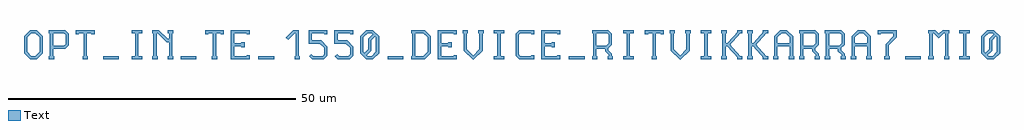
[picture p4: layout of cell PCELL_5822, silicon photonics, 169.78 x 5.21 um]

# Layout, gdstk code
import gdstk
lib = gdstk.Library(unit=1e-6, precision=1e-09)
def R(c, l, rs):  # rectangles x0, y0, x1, y1
    for r in rs: c.add(gdstk.rectangle(r[:2], r[2:], *l))
def A(c, l, x, y, w, h, nx, ny, dx, dy):  # array of equal rectangles
    R(c, l, [(x+i*dx, y+j*dy, x+i*dx+w, y+j*dy+h) for i in range(nx) for j in range(ny)])
def P(c, l, *ps):  # polygons
    for p in ps: c.add(gdstk.Polygon(p, *l))
Text = (10, 0)

pcell_5822 = lib.new_cell('PCELL_5822')
A(pcell_5822, Text, -71.5, -5.275, 2.727, 0.55, 3, 1, 13.5, 0)
A(pcell_5822, Text, 36.045, -5.275, 0.91, 0.55, 6, 1, 4.5, 0)
A(pcell_5822, Text, 38.773, -5.275, 0.909, 0.55, 6, 1, 4.5, 0)
R(pcell_5822, Text, [(-80.955,-5.275,-80.045,-4.725), (-75.091,-5.275,-74.182,-4.725), (-66.545,-5.275,-64.727,-4.725), (-62.955,-5.275,-62.045,-4.725), (-60.227,-5.275,-59.318,-4.725), (-52.591,-5.275,-51.682,-4.725), (-38.182,-5.275,-37.273,-4.725), (-22,-5.275,-19.273,-4.725), (-3.545,-5.275,-1.727,-4.725), (9.5,-5.275,12.227,-4.725), (13.545,-5.275,14.455,-4.725), (16.273,-5.275,17.182,-4.725), (18.955,-5.275,20.773,-4.725), (23.909,-5.275,24.818,-4.725), (32.455,-5.275,34.273,-4.725), (64.409,-5.275,65.318,-4.725), (68,-5.275,70.727,-4.725), (72.045,-5.275,72.955,-4.725), (74.773,-5.275,75.682,-4.725), (77.455,-5.275,79.273,-4.725), (-80.775,-5,-80.225,-0.455), (-74.911,-5,-74.361,-0.455), (-65.911,-5,-65.361,-0.455), (-62.775,-5,-62.225,-0.455), (-60.048,-5,-59.498,-0.455), (-52.411,-5,-51.861,-0.455), (-17.775,-5,-17.225,-0.455), (-2.911,-5,-2.361,-0.455), (13.725,-5,14.275,-0.455), (19.589,-5,20.139,-0.455), (24.089,-5,24.639,-0.455), (33.089,-5,33.639,-0.455), (36.225,-5,36.775,-0.455), (40.725,-5,41.275,-0.455), (49.725,-5,50.275,-0.455), (54.225,-5,54.775,-0.455), (72.225,-5,72.775,-0.455), (74.952,-5,75.502,-0.455), (78.089,-5,78.639,-0.455), (-47.457,-3.182,-46.907,-2.273), (-11.457,-3.182,-10.907,-2.273), (6.543,-3.182,7.093,-2.273), (-49,-3.002,-47.182,-2.452), (-13,-3.002,-11.182,-2.452), (5,-3.002,6.818,-2.452), (45.5,-3.002,48.227,-2.452), (59,-3.002,61.727,-2.452), (-66.545,-0.73,-64.727,-0.18), (-60.227,-0.73,-59.318,-0.18), (-8.955,-0.73,-8.045,-0.18), (-6.227,-0.73,-5.318,-0.18), (-3.545,-0.73,-1.727,-0.18), (18.955,-0.73,20.773,-0.18), (27.045,-0.73,27.955,-0.18), (29.773,-0.73,30.682,-0.18), (32.455,-0.73,34.273,-0.18), (36.045,-0.73,36.955,-0.18), (38.773,-0.73,39.682,-0.18), (40.545,-0.73,41.455,-0.18), (43.273,-0.73,44.182,-0.18), (77.455,-0.73,79.273,-0.18)])
P(pcell_5822, Text, [(-85.275,-4.091),(-85.275,-1.25),(-84.205,-0.18),(-83.068,-0.18),(-81.998,-1.25),(-81.998,-3.182),(-82.548,-3.182),(-82.548,-1.478),(-83.296,-0.73),(-83.977,-0.73),(-84.725,-1.478),(-84.725,-4.091)],
  [(-81.998,-2.727),(-81.998,-4.205),(-83.068,-5.275),(-84.205,-5.275),(-85.275,-4.205),(-85.275,-1.364),(-84.725,-1.364),(-84.725,-3.977),(-83.977,-4.725),(-83.296,-4.725),(-82.548,-3.977),(-82.548,-2.727)],
  [(-80.955,-0.18),(-78.113,-0.18),(-77.498,-0.795),(-77.498,-2.841),(-78.113,-3.457),(-80.5,-3.457),(-80.5,-2.907),(-78.341,-2.907),(-78.048,-2.613),(-78.048,-1.023),(-78.341,-0.73),(-80.955,-0.73)],
  [(-76.275,-0.909),(-76.275,-0.18),(-72.998,-0.18),(-72.998,-0.909),(-73.548,-0.909),(-73.548,-0.73),(-75.725,-0.73),(-75.725,-0.909)],
  [(-62.955,-0.18),(-61.795,-0.18),(-60.25,-1.725),(-59.773,-1.725),(-59.773,-2.275),(-60.478,-2.275),(-62.023,-0.73),(-62.955,-0.73)],
  [(-53.775,-0.909),(-53.775,-0.18),(-50.498,-0.18),(-50.498,-0.909),(-51.048,-0.909),(-51.048,-0.73),(-53.225,-0.73),(-53.225,-0.909)],
  [(-45.998,-4.545),(-45.998,-5.275),(-49.275,-5.275),(-49.275,-0.18),(-45.998,-0.18),(-45.998,-0.909),(-46.548,-0.909),(-46.548,-0.73),(-48.725,-0.73),(-48.725,-4.725),(-46.548,-4.725),(-46.548,-4.545)],
  [(-39.74,-1.487),(-38.432,-0.18),(-37.452,-0.18),(-37.452,-5),(-38.002,-5),(-38.002,-0.73),(-38.204,-0.73),(-39.351,-1.876)],
  [(-33.048,-0.909),(-33.048,-0.73),(-35.225,-0.73),(-35.225,-1.998),(-33.568,-1.998),(-32.498,-3.068),(-32.498,-4.659),(-33.113,-5.275),(-35.159,-5.275),(-35.694,-4.74),(-35.306,-4.351),(-34.932,-4.725),(-33.341,-4.725),(-33.048,-4.432),(-33.048,-3.296),(-33.796,-2.548),(-35.775,-2.548),(-35.775,-0.18),(-32.498,-0.18),(-32.498,-0.909)],
  [(-28.548,-0.909),(-28.548,-0.73),(-30.725,-0.73),(-30.725,-1.998),(-29.068,-1.998),(-27.998,-3.068),(-27.998,-4.659),(-28.613,-5.275),(-30.659,-5.275),(-31.194,-4.74),(-30.806,-4.351),(-30.432,-4.725),(-28.841,-4.725),(-28.548,-4.432),(-28.548,-3.296),(-29.296,-2.548),(-31.275,-2.548),(-31.275,-0.18),(-27.998,-0.18),(-27.998,-0.909)],
  [(-25.136,-5.275),(-25.705,-5.275),(-26.775,-4.205),(-26.775,-1.25),(-25.705,-0.18),(-24.568,-0.18),(-23.498,-1.25),(-23.498,-3.182),(-24.048,-3.182),(-24.048,-1.478),(-24.796,-0.73),(-25.477,-0.73),(-26.225,-1.478),(-26.225,-3.977),(-25.477,-4.725),(-25.136,-4.725)],
  [(-23.498,-2.727),(-23.498,-4.205),(-24.568,-5.275),(-25.705,-5.275),(-26.775,-4.205),(-26.775,-2.727),(-26.225,-2.727),(-26.225,-3.977),(-25.477,-4.725),(-24.796,-4.725),(-24.048,-3.977),(-24.048,-2.727)],
  [(-26.24,-4.351),(-25.411,-3.522),(-25.411,-1.704),(-24.422,-0.715),(-24.033,-1.104),(-24.861,-1.932),(-24.861,-3.75),(-25.851,-4.74)],
  [(-17.955,-0.18),(-15.568,-0.18),(-14.498,-1.25),(-14.498,-4.205),(-15.568,-5.275),(-17.955,-5.275),(-17.955,-4.725),(-15.796,-4.725),(-15.048,-3.977),(-15.048,-1.478),(-15.796,-0.73),(-17.955,-0.73)],
  [(-9.998,-4.545),(-9.998,-5.275),(-13.275,-5.275),(-13.275,-0.18),(-9.998,-0.18),(-9.998,-0.909),(-10.548,-0.909),(-10.548,-0.73),(-12.725,-0.73),(-12.725,-4.725),(-10.548,-4.725),(-10.548,-4.545)],
  [(-8.225,-0.455),(-8.225,-3.522),(-7.136,-4.611),(-6.048,-3.522),(-6.048,-0.455),(-5.498,-0.455),(-5.498,-3.75),(-7.136,-5.389),(-8.775,-3.75),(-8.775,-0.455)],
  [(3.502,-4.545),(3.502,-5.275),(0.841,-5.275),(0.225,-4.659),(0.225,-0.795),(0.841,-0.18),(3.502,-0.18),(3.502,-0.909),(2.952,-0.909),(2.952,-0.73),(1.068,-0.73),(0.775,-1.023),(0.775,-4.432),(1.068,-4.725),(2.952,-4.725),(2.952,-4.545)],
  [(8.002,-4.545),(8.002,-5.275),(4.725,-5.275),(4.725,-0.18),(8.002,-0.18),(8.002,-0.909),(7.452,-0.909),(7.452,-0.73),(5.275,-0.73),(5.275,-4.725),(7.452,-4.725),(7.452,-4.545)],
  [(13.545,-0.18),(16.387,-0.18),(17.002,-0.795),(17.002,-2.705),(16.25,-3.457),(14,-3.457),(14,-2.907),(16.022,-2.907),(16.452,-2.477),(16.452,-1.023),(16.159,-0.73),(13.545,-0.73)],
  [(16.366,-3.182),(16.366,-3.659),(17.002,-4.295),(17.002,-5),(16.452,-5),(16.452,-4.523),(15.816,-3.887),(15.816,-3.182)],
  [(22.725,-0.909),(22.725,-0.18),(26.002,-0.18),(26.002,-0.909),(25.452,-0.909),(25.452,-0.73),(23.275,-0.73),(23.275,-0.909)],
  [(27.775,-0.455),(27.775,-3.522),(28.864,-4.611),(29.952,-3.522),(29.952,-0.455),(30.502,-0.455),(30.502,-3.75),(28.864,-5.389),(27.225,-3.75),(27.225,-0.455)],
  [(36.5,-2.452),(37.059,-2.452),(39.023,-0.271),(39.432,-0.639),(37.304,-3.002),(36.5,-3.002)],
  [(37.386,-2.543),(39.432,-4.816),(39.023,-5.184),(36.977,-2.911)],
  [(41,-2.452),(41.559,-2.452),(43.523,-0.271),(43.932,-0.639),(41.804,-3.002),(41,-3.002)],
  [(41.886,-2.543),(43.932,-4.816),(43.523,-5.184),(41.477,-2.911)],
  [(45.225,-5),(45.225,-1.25),(46.295,-0.18),(47.432,-0.18),(48.502,-1.25),(48.502,-5),(47.952,-5),(47.952,-1.478),(47.204,-0.73),(46.523,-0.73),(45.775,-1.478),(45.775,-5)],
  [(49.545,-0.18),(52.387,-0.18),(53.002,-0.795),(53.002,-2.705),(52.25,-3.457),(50,-3.457),(50,-2.907),(52.022,-2.907),(52.452,-2.477),(52.452,-1.023),(52.159,-0.73),(49.545,-0.73)],
  [(52.366,-3.182),(52.366,-3.659),(53.002,-4.295),(53.002,-5),(52.452,-5),(52.452,-4.523),(51.816,-3.887),(51.816,-3.182)],
  [(54.045,-0.18),(56.887,-0.18),(57.502,-0.795),(57.502,-2.705),(56.75,-3.457),(54.5,-3.457),(54.5,-2.907),(56.522,-2.907),(56.952,-2.477),(56.952,-1.023),(56.659,-0.73),(54.045,-0.73)],
  [(56.866,-3.182),(56.866,-3.659),(57.502,-4.295),(57.502,-5),(56.952,-5),(56.952,-4.523),(56.316,-3.887),(56.316,-3.182)],
  [(58.725,-5),(58.725,-1.25),(59.795,-0.18),(60.932,-0.18),(62.002,-1.25),(62.002,-5),(61.452,-5),(61.452,-1.478),(60.704,-0.73),(60.023,-0.73),(59.275,-1.478),(59.275,-5)],
  [(63.225,-0.909),(63.225,-0.18),(66.502,-0.18),(66.502,-1.478),(65.139,-2.841),(65.139,-5),(64.589,-5),(64.589,-2.613),(65.952,-1.25),(65.952,-0.73),(63.775,-0.73),(63.775,-0.909)],
  [(72.045,-0.18),(73.205,-0.18),(73.864,-0.838),(74.522,-0.18),(75.682,-0.18),(75.682,-0.73),(74.75,-0.73),(73.864,-1.616),(72.977,-0.73),(72.045,-0.73)],
  [(82.864,-5.275),(82.295,-5.275),(81.225,-4.205),(81.225,-1.25),(82.295,-0.18),(83.432,-0.18),(84.502,-1.25),(84.502,-3.182),(83.952,-3.182),(83.952,-1.478),(83.204,-0.73),(82.523,-0.73),(81.775,-1.478),(81.775,-3.977),(82.523,-4.725),(82.864,-4.725)],
  [(84.502,-2.727),(84.502,-4.205),(83.432,-5.275),(82.295,-5.275),(81.225,-4.205),(81.225,-2.727),(81.775,-2.727),(81.775,-3.977),(82.523,-4.725),(83.204,-4.725),(83.952,-3.977),(83.952,-2.727)],
  [(81.76,-4.351),(82.589,-3.522),(82.589,-1.704),(83.578,-0.715),(83.967,-1.104),(83.139,-1.932),(83.139,-3.75),(82.149,-4.74)])

lib.write_gds('PCELL_5822.gds')
